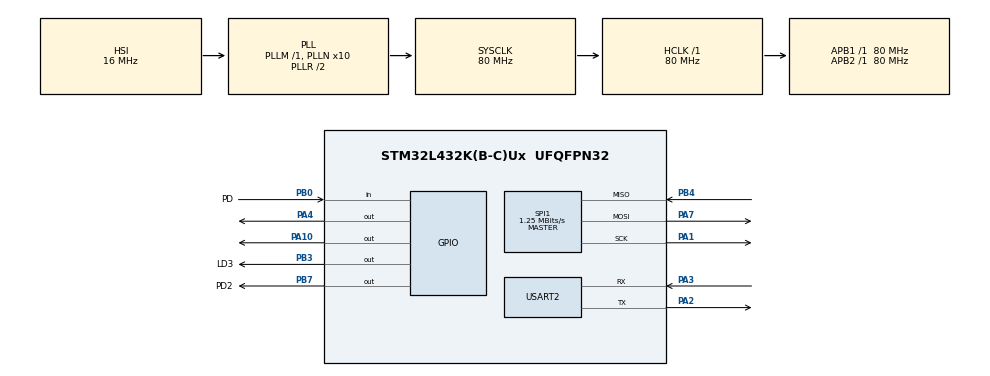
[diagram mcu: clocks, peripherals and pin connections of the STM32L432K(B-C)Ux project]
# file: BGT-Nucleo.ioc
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Mcu.Family=STM32L4
Mcu.Name=STM32L432K(B-C)Ux
Mcu.Package=UFQFPN32
NVIC.PriorityGroup=NVIC_PRIORITYGROUP_4
NVIC.TIM2_IRQn=true\:0\:0\:false\:false\:true\:true\:true\:true
PA1.Mode=Full_Duplex_Master
PA1.Signal=SPI1_SCK
PA10.Signal=GPIO_Output
PA2.Mode=Asynchronous
PA2.Signal=USART2_TX
PA3.Mode=Asynchronous
PA3.Signal=USART2_RX
PA4.GPIO_Speed=GPIO_SPEED_FREQ_LOW
PA4.Signal=GPIO_Output
PA7.Mode=Full_Duplex_Master
PA7.Signal=SPI1_MOSI
PB0.GPIO_Label=PD
PB0.Signal=GPIO_Input
PB3\ (JTDO-TRACESWO).GPIO_Label=LD3
PB3\ (JTDO-TRACESWO).Signal=GPIO_Output
PB4\ (NJTRST).Mode=Full_Duplex_Master
PB4\ (NJTRST).Signal=SPI1_MISO
PB7.GPIO_Label=PD2
PB7.Signal=GPIO_Output
ProjectManager.HeapSize=0x200
ProjectManager.StackSize=0x400
ProjectManager.TargetToolchain=STM32CubeIDE
RCC.ADCFreq_Value=64000000
RCC.AHBFreq_Value=80000000
RCC.APB1Freq_Value=80000000
RCC.APB1TimFreq_Value=80000000
RCC.APB2Freq_Value=80000000
RCC.APB2TimFreq_Value=80000000
RCC.CortexFreq_Value=80000000
RCC.HCLKFreq_Value=80000000
RCC.HSE_VALUE=8000000
RCC.HSI48_VALUE=48000000
RCC.HSI_VALUE=16000000
RCC.LSE_VALUE=32768
RCC.MSI_VALUE=4000000
RCC.PLLN=10
RCC.PLLSourceVirtual=RCC_PLLSOURCE_HSI
RCC.SYSCLKFreq_VALUE=80000000
RCC.SYSCLKSource=RCC_SYSCLKSOURCE_PLLCLK
RCC.USBFreq_Value=64000000
RCC.VCOOutputFreq_Value=160000000
SPI1.BaudRatePrescaler=SPI_BAUDRATEPRESCALER_64
SPI1.CalculateBaudRate=1.25 MBits/s
SPI1.DataSize=SPI_DATASIZE_8BIT
SPI1.Direction=SPI_DIRECTION_2LINES
SPI1.Mode=SPI_MODE_MASTER
SPI1.NSSPMode=SPI_NSS_PULSE_DISABLE
SPI1.VirtualType=VM_MASTER
TIM2.Period=999
TIM2.Prescaler=79
USART2.VirtualMode-Asynchronous=VM_ASYNC
VP_TIM2_VS_ClockSourceINT.Mode=Internal
board=custom

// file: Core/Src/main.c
/* USER CODE BEGIN Header */
/**
  ******************************************************************************
  * @file           : main.c
  * @brief          : Main program body
  ******************************************************************************
  * @attention
  *
  * Copyright (c) 2025 STMicroelectronics.
  * All rights reserved.
  *
  * This software is licensed under terms that can be found in the LICENSE file
  * in the root directory of this software component.
  * If no LICENSE file comes with this software, it is provided AS-IS.
  *
  ******************************************************************************
  */
/* USER CODE END Header */
#include "main.h"

/* USER CODE BEGIN Includes */
#include "fft.h"
#include "bgt60ltr11_spi.h"
#include <stdio.h>
#include <stdint.h>
#include <string.h>
#include <math.h>
/* USER CODE END Includes */

SPI_HandleTypeDef hspi1;

TIM_HandleTypeDef htim2;

UART_HandleTypeDef huart2;

/* USER CODE BEGIN PV */

// Radar 1 data structures
uint16_t IFI_radar1 = 0;
uint16_t IFQ_radar1 = 0;
float32_t buffer1_radar1[2 * FFT_BUFFER_SIZE];
float32_t buffer2_radar1[2 * FFT_BUFFER_SIZE];
float32_t *active_buffer_radar1 = buffer1_radar1;
float32_t *processing_buffer_radar1 = buffer2_radar1;
uint16_t acquired_sample_count_radar1 = 0;
uint8_t data_ready_f_radar1 = 0;
float32_t peak_index_radar1 = 0.0f;
float32_t max_value_radar1 = 0.0f;
float32_t target_velocity_radar1 = 0.0f;

// Radar 2 data structures
uint16_t IFI_radar2 = 0;
uint16_t IFQ_radar2 = 0;
float32_t buffer1_radar2[2 * FFT_BUFFER_SIZE];
float32_t buffer2_radar2[2 * FFT_BUFFER_SIZE];
float32_t *active_buffer_radar2 = buffer1_radar2;
float32_t *processing_buffer_radar2 = buffer2_radar2;
uint16_t acquired_sample_count_radar2 = 0;
uint8_t data_ready_f_radar2 = 0;
float32_t peak_index_radar2 = 0.0f;
float32_t max_value_radar2 = 0.0f;
float32_t target_velocity_radar2 = 0.0f;

// Shared variables
uint8_t radar1_initialized = 0;
uint8_t radar2_initialized = 0;
uint32_t error_cnt = 0;

#define VELOCITY_BUFFER_SIZE 3
float32_t velocity_buffer_radar1[VELOCITY_BUFFER_SIZE];
uint8_t velocity_buffer_index_radar1 = 0;
uint8_t velocity_buffer_filled_radar1 = 0;
float32_t velocity_average_radar1 = 0.0f;

float32_t velocity_buffer_radar2[VELOCITY_BUFFER_SIZE];
uint8_t velocity_buffer_index_radar2 = 0;
uint8_t velocity_buffer_filled_radar2 = 0;
float32_t velocity_average_radar2 = 0.0f;

uint32_t pa10_toggle_timestamp = 0;
const uint32_t PA10_TOGGLE_INTERVAL = 5000; // 5 seconds in milliseconds
GPIO_PinState pa10_current_state = GPIO_PIN_RESET;
/* USER CODE END PV */

void SystemClock_Config(void);
static void MX_GPIO_Init(void);
static void MX_SPI1_Init(void);
static void MX_TIM2_Init(void);
static void MX_USART2_UART_Init(void);
/* USER CODE BEGIN PFP */
float32_t calculate_rolling_average_with_filtering1(float32_t new_value);
float32_t calculate_rolling_average_with_filtering2(float32_t new_value);
/* USER CODE END PFP */

/* USER CODE BEGIN 0 */
#ifdef __GNUC__
#define PUTCHAR_PROTOTYPE int __io_putchar(int ch)
#else
#define PUTCHAR_PROTOTYPE int fputc(int ch, FILE *f)
#endif

PUTCHAR_PROTOTYPE
{
  HAL_UART_Transmit(&huart2, (uint8_t *)&ch, 1, HAL_MAX_DELAY);
  return ch;
}

/* USER CODE END 0 */

int main(void)
{

  /* MCU Configuration--------------------------------------------------------*/

  /* Reset of all peripherals, Initializes the Flash interface and the Systick. */
  HAL_Init();

  /* Configure the system clock */
  SystemClock_Config();

  /* Initialize all configured peripherals */
  MX_GPIO_Init();
  MX_SPI1_Init();
  MX_TIM2_Init();
  MX_USART2_UART_Init();
  /* USER CODE BEGIN 2 */
  //Test

  // Initialize CS pins
  HAL_GPIO_WritePin(GPIOA, GPIO_PIN_4, GPIO_PIN_SET);   // Radar 1 CS high
  HAL_GPIO_WritePin(GPIOA, GPIO_PIN_10, GPIO_PIN_SET);  // Radar 2 CS high

  // Initialize Radar 1
  bgt60ltr11_HW_reset(RADAR_1);
  HAL_Delay(100);  // Wait for radar to stabilize
  if (bgt60ltr11_pulsed_mode_init_extended_range(RADAR_1) != HAL_OK) {
      Error_Handler();
  }

  // Initialize Radar 2
  bgt60ltr11_HW_reset(RADAR_2);
  HAL_Delay(100);  // Wait for radar to stabilize
  if (bgt60ltr11_pulsed_mode_init_extended_range(RADAR_2) != HAL_OK) {
      Error_Handler();
  }

  HAL_Delay(1000);
  HAL_TIM_Base_Start_IT(&htim2);

  // Radars successfully initialized
  radar1_initialized = 1;
  radar2_initialized = 1;

  for (uint8_t i = 0; i < VELOCITY_BUFFER_SIZE; i++) {
	  velocity_buffer_radar1[i] = 0.0f;
	  velocity_buffer_radar2[i] = 0.0f;
  }

  /* USER CODE END 2 */

  /* Infinite loop */
  /* USER CODE BEGIN WHILE */
  // HI JASON!!!!!!
  while (1)
  {
	  //printf("PD Pin state: %s\r\n", HAL_GPIO_ReadPin(PD_GPIO_Port, PD_Pin) == GPIO_PIN_SET ? "HIGH" : "LOW");

	  // Process Radar 1 data when ready
	  //printf("radar_init=%u, data_ready=%u\r\n", radar1_initialized, data_ready_f_radar1);
	  if (radar1_initialized && data_ready_f_radar1) {
		  fft256_spectrum(processing_buffer_radar1);
		  find_peak_frequency(processing_buffer_radar1, FFT_BUFFER_SIZE, 1000, &peak_index_radar1, &max_value_radar1, &target_velocity_radar1);
		  printf("Radar 1 - velocity: %.5f m/s\t", target_velocity_radar1);
		  //printf("Radar 1 - velocity: %.5f m/s \r\n", target_velocity_radar1);
//		  if ((HAL_GPIO_ReadPin(PD_GPIO_Port, PD_Pin) == GPIO_PIN_SET && target_velocity_radar1 > 0) ||
//		      (HAL_GPIO_ReadPin(PD_GPIO_Port, PD_Pin) == GPIO_PIN_RESET && target_velocity_radar1 < 0)) {
//
//		    //velocity_average_radar1 = calculate_rolling_average_with_filtering1(target_velocity_radar1);
//		    printf("Radar 1 - velocity: %.5f m/s \r\n", target_velocity_radar1);
//
//		  }
		  HAL_GPIO_TogglePin(GPIOB, GPIO_PIN_3);
		  data_ready_f_radar1 = 0;
	  } else {
		  printf("%-35s", "");
	  }

	  // Process Radar 2 data when ready
	  if (radar2_initialized && data_ready_f_radar2) {
		  fft256_spectrum(processing_buffer_radar2);
		  find_peak_frequency(processing_buffer_radar2, FFT_BUFFER_SIZE, 1000, &peak_index_radar2, &max_value_radar2, &target_velocity_radar2);
		  printf("Radar 2 - velocity: %.5f m/s", target_velocity_radar2);
//		  if ((HAL_GPIO_ReadPin(PD2_GPIO_Port, PD2_Pin) == GPIO_PIN_SET && target_velocity_radar2 > 0) ||
//			  (HAL_GPIO_ReadPin(PD2_GPIO_Port, PD2_Pin) == GPIO_PIN_RESET && target_velocity_radar2 < 0)) {
//
//			//velocity_average_radar2 = calculate_rolling_average_with_filtering2(target_velocity_radar2);
//			//printf("Radar 2 - velocity: %.5f m/s \r\n", target_velocity_radar2);
//			printf("\n");
//
//		  }
		  HAL_GPIO_TogglePin(GPIOB, GPIO_PIN_3);
		  data_ready_f_radar2 = 0;
	  } else {
		  printf("\r\n");
	  }

//	  printf("-\r\n");
//	  if (HAL_GPIO_ReadPin(TD_GPIO_Port, TD_Pin) == GPIO_PIN_RESET) {
//		  // TD = 0
//		  if (HAL_GPIO_ReadPin(PD_GPIO_Port, PD_Pin) == GPIO_PIN_SET) {
//			  // PD = 1
//			  printf("APPROACHING!!!!!\r\n");
//		  } else {
//			  // PD = 0
//			  printf("DEPARTING!!!!!\r\n");
//		  }
//	  }

	  // Check if it's time to toggle PA10
//	  uint32_t current_time = HAL_GetTick();
//	  if(current_time - pa10_toggle_timestamp >= PA10_TOGGLE_INTERVAL) {
//		  // Toggle the state by writing the opposite of current state
//		  pa10_current_state = (pa10_current_state == GPIO_PIN_RESET) ? GPIO_PIN_SET : GPIO_PIN_RESET;
//		  HAL_GPIO_WritePin(GPIOA, GPIO_PIN_10, pa10_current_state);
//		  pa10_toggle_timestamp = current_time;
//		  printf("PA10 set to %s\r\n", (pa10_current_state == GPIO_PIN_SET) ? "HIGH" : "LOW"); // improved debug message
//	  }

	  HAL_Delay(100);

    /* USER CODE END WHILE */

  }
}

void SystemClock_Config(void)
{
  RCC_OscInitTypeDef RCC_OscInitStruct = {0};
  RCC_ClkInitTypeDef RCC_ClkInitStruct = {0};

  /** Configure the main internal regulator output voltage
  */
  if (HAL_PWREx_ControlVoltageScaling(PWR_REGULATOR_VOLTAGE_SCALE1) != HAL_OK)
  {
    Error_Handler();
  }

  /** Initializes the RCC Oscillators according to the specified parameters
  * in the RCC_OscInitTypeDef structure.
  */
  RCC_OscInitStruct.OscillatorType = RCC_OSCILLATORTYPE_HSI;
  RCC_OscInitStruct.HSIState = RCC_HSI_ON;
  RCC_OscInitStruct.HSICalibrationValue = RCC_HSICALIBRATION_DEFAULT;
  RCC_OscInitStruct.PLL.PLLState = RCC_PLL_ON;
  RCC_OscInitStruct.PLL.PLLSource = RCC_PLLSOURCE_HSI;
  RCC_OscInitStruct.PLL.PLLM = 1;
  RCC_OscInitStruct.PLL.PLLN = 10;
  RCC_OscInitStruct.PLL.PLLP = RCC_PLLP_DIV7;
  RCC_OscInitStruct.PLL.PLLQ = RCC_PLLQ_DIV2;
  RCC_OscInitStruct.PLL.PLLR = RCC_PLLR_DIV2;
  if (HAL_RCC_OscConfig(&RCC_OscInitStruct) != HAL_OK)
  {
    Error_Handler();
  }

  /** Initializes the CPU, AHB and APB buses clocks
  */
  RCC_ClkInitStruct.ClockType = RCC_CLOCKTYPE_HCLK|RCC_CLOCKTYPE_SYSCLK
                              |RCC_CLOCKTYPE_PCLK1|RCC_CLOCKTYPE_PCLK2;
  RCC_ClkInitStruct.SYSCLKSource = RCC_SYSCLKSOURCE_PLLCLK;
  RCC_ClkInitStruct.AHBCLKDivider = RCC_SYSCLK_DIV1;
  RCC_ClkInitStruct.APB1CLKDivider = RCC_HCLK_DIV1;
  RCC_ClkInitStruct.APB2CLKDivider = RCC_HCLK_DIV1;

  if (HAL_RCC_ClockConfig(&RCC_ClkInitStruct, FLASH_LATENCY_4) != HAL_OK)
  {
    Error_Handler();
  }
}

static void MX_SPI1_Init(void)
{

  /* SPI1 parameter configuration*/
  hspi1.Instance = SPI1;
  hspi1.Init.Mode = SPI_MODE_MASTER;
  hspi1.Init.Direction = SPI_DIRECTION_2LINES;
  hspi1.Init.DataSize = SPI_DATASIZE_8BIT;
  hspi1.Init.CLKPolarity = SPI_POLARITY_LOW;
  hspi1.Init.CLKPhase = SPI_PHASE_1EDGE;
  hspi1.Init.NSS = SPI_NSS_SOFT;
  hspi1.Init.BaudRatePrescaler = SPI_BAUDRATEPRESCALER_64;
  hspi1.Init.FirstBit = SPI_FIRSTBIT_MSB;
  hspi1.Init.TIMode = SPI_TIMODE_DISABLE;
  hspi1.Init.CRCCalculation = SPI_CRCCALCULATION_DISABLE;
  hspi1.Init.CRCPolynomial = 7;
  hspi1.Init.CRCLength = SPI_CRC_LENGTH_DATASIZE;
  hspi1.Init.NSSPMode = SPI_NSS_PULSE_DISABLE;
  if (HAL_SPI_Init(&hspi1) != HAL_OK)
  {
    Error_Handler();
  }

}

static void MX_TIM2_Init(void)
{

  TIM_ClockConfigTypeDef sClockSourceConfig = {0};
  TIM_MasterConfigTypeDef sMasterConfig = {0};

  htim2.Instance = TIM2;
  htim2.Init.Prescaler = 79;
  htim2.Init.CounterMode = TIM_COUNTERMODE_UP;
  htim2.Init.Period = 999;
  htim2.Init.ClockDivision = TIM_CLOCKDIVISION_DIV1;
  htim2.Init.AutoReloadPreload = TIM_AUTORELOAD_PRELOAD_DISABLE;
  if (HAL_TIM_Base_Init(&htim2) != HAL_OK)
  {
    Error_Handler();
  }
  sClockSourceConfig.ClockSource = TIM_CLOCKSOURCE_INTERNAL;
  if (HAL_TIM_ConfigClockSource(&htim2, &sClockSourceConfig) != HAL_OK)
  {
    Error_Handler();
  }
  sMasterConfig.MasterOutputTrigger = TIM_TRGO_RESET;
  sMasterConfig.MasterSlaveMode = TIM_MASTERSLAVEMODE_DISABLE;
  if (HAL_TIMEx_MasterConfigSynchronization(&htim2, &sMasterConfig) != HAL_OK)
  {
    Error_Handler();
  }

}

static void MX_USART2_UART_Init(void)
{

  huart2.Instance = USART2;
  huart2.Init.BaudRate = 115200;
  huart2.Init.WordLength = UART_WORDLENGTH_8B;
  huart2.Init.StopBits = UART_STOPBITS_1;
  huart2.Init.Parity = UART_PARITY_NONE;
  huart2.Init.Mode = UART_MODE_TX_RX;
  huart2.Init.HwFlowCtl = UART_HWCONTROL_NONE;
  huart2.Init.OverSampling = UART_OVERSAMPLING_16;
  huart2.Init.OneBitSampling = UART_ONE_BIT_SAMPLE_DISABLE;
  huart2.AdvancedInit.AdvFeatureInit = UART_ADVFEATURE_NO_INIT;
  if (HAL_UART_Init(&huart2) != HAL_OK)
  {
    Error_Handler();
  }

}

static void MX_GPIO_Init(void)
{
  GPIO_InitTypeDef GPIO_InitStruct = {0};

  /* GPIO Ports Clock Enable */
  __HAL_RCC_GPIOA_CLK_ENABLE();
  __HAL_RCC_GPIOB_CLK_ENABLE();

  /*Configure GPIO pin Output Level */
  HAL_GPIO_WritePin(GPIOA, GPIO_PIN_4|GPIO_PIN_10, GPIO_PIN_RESET);

  /*Configure GPIO pin Output Level */
  HAL_GPIO_WritePin(GPIOB, LD3_Pin|PD2_Pin, GPIO_PIN_RESET);

  /*Configure GPIO pins : PA4 PA10 */
  GPIO_InitStruct.Pin = GPIO_PIN_4|GPIO_PIN_10;
  GPIO_InitStruct.Mode = GPIO_MODE_OUTPUT_PP;
  GPIO_InitStruct.Pull = GPIO_NOPULL;
  GPIO_InitStruct.Speed = GPIO_SPEED_FREQ_LOW;
  HAL_GPIO_Init(GPIOA, &GPIO_InitStruct);

  /*Configure GPIO pin : PD_Pin */
  GPIO_InitStruct.Pin = PD_Pin;
  GPIO_InitStruct.Mode = GPIO_MODE_INPUT;
  GPIO_InitStruct.Pull = GPIO_NOPULL;
  HAL_GPIO_Init(PD_GPIO_Port, &GPIO_InitStruct);

  /*Configure GPIO pins : LD3_Pin PD2_Pin */
  GPIO_InitStruct.Pin = LD3_Pin|PD2_Pin;
  GPIO_InitStruct.Mode = GPIO_MODE_OUTPUT_PP;
  GPIO_InitStruct.Pull = GPIO_NOPULL;
  GPIO_InitStruct.Speed = GPIO_SPEED_FREQ_LOW;
  HAL_GPIO_Init(GPIOB, &GPIO_InitStruct);

}

/* USER CODE BEGIN 4 */

void HAL_TIM_PeriodElapsedCallback(TIM_HandleTypeDef *htim) {
    if (htim == &htim2) {
        // Alternate between radars (you could also use a counter to give equal time)
        static uint8_t current_radar = RADAR_1;

        if (current_radar == RADAR_1) {
            // Process Radar 1
            if (acquired_sample_count_radar1 < FFT_BUFFER_SIZE) {
                if (bgt60ltr11_get_RAW_data(RADAR_1, &IFI_radar1, &IFQ_radar1) == HAL_OK) {
                    if (IFI_radar1 <= 0x3FC && IFQ_radar1 <= 0x3FC) {
                        active_buffer_radar1[2 * acquired_sample_count_radar1] =  (float32_t)(IFI_radar1 >> 2) / 255.0f;
                        active_buffer_radar1[2 * acquired_sample_count_radar1 + 1] = (float32_t)(IFQ_radar1 >> 2) / 255.0f;
                        acquired_sample_count_radar1++;
                    }
                } else {
                    error_cnt++;
                }
            } else {
                // Buffer full, swap buffers
                float32_t *temp = active_buffer_radar1;
                active_buffer_radar1 = processing_buffer_radar1;
                processing_buffer_radar1 = temp;
                data_ready_f_radar1 = 1;
                acquired_sample_count_radar1 = 0;
            }
        } else {
            // Process Radar 2
            if (acquired_sample_count_radar2 < FFT_BUFFER_SIZE) {
                if (bgt60ltr11_get_RAW_data(RADAR_2, &IFI_radar2, &IFQ_radar2) == HAL_OK) {
                    if (IFI_radar2 <= 0x3FC && IFQ_radar2 <= 0x3FC) {
                        active_buffer_radar2[2 * acquired_sample_count_radar2] = (float32_t)(IFI_radar2 >> 2) / 255.0f;
                        active_buffer_radar2[2 * acquired_sample_count_radar2 + 1] = (float32_t)(IFQ_radar2 >> 2) / 255.0f;
                        acquired_sample_count_radar2++;
                    }
                } else {
                    error_cnt++;
                }
            } else {
                // Buffer full, swap buffers
                float32_t *temp = active_buffer_radar2;
                active_buffer_radar2 = processing_buffer_radar2;
                processing_buffer_radar2 = temp;
                data_ready_f_radar2 = 1;
                acquired_sample_count_radar2 = 0;
            }
        }

        // Toggle between radars
        current_radar = (current_radar == RADAR_1) ? RADAR_2 : RADAR_1;
    }
}

void sendDataToMonitor(float32_t vel) {
	printf("DATA,%.5f\n", vel);
}

float32_t calculate_rolling_average_with_filtering1(float32_t new_value) {
    // Set threshold for outlier detection (adjust based on your expected velocity range)
    float32_t max_deviation = 20.0f; // Maximum allowed deviation from current average

    // If we have a previous average and the new value deviates too much, reject it
    if (velocity_buffer_filled_radar1 && fabsf(new_value - velocity_average_radar1) > max_deviation) {
        // Outlier detected, don't add to buffer
        //printf("Outlier rejected: %.5f (current avg: %.5f)\r\n", new_value, velocity_average_radar1);
        return velocity_average_radar1; // Return previous average
    }

    // Regular rolling average calculation
    velocity_buffer_radar1[velocity_buffer_index_radar1] = new_value;
    velocity_buffer_index_radar1 = (velocity_buffer_index_radar1 + 1) % VELOCITY_BUFFER_SIZE;

    if (velocity_buffer_index_radar1 == 0 && velocity_buffer_filled_radar1 == 0) {
        velocity_buffer_filled_radar1 = 1;
    }

    float32_t sum = 0.0f;
    uint8_t count = velocity_buffer_filled_radar1 ? VELOCITY_BUFFER_SIZE : velocity_buffer_index_radar1;

    if (count == 0) {
        return new_value;
    }

    for (uint8_t i = 0; i < count; i++) {
        sum += velocity_buffer_radar1[i];
    }

    return sum / count;
}

float32_t calculate_rolling_average_with_filtering2(float32_t new_value) {
    // Set threshold for outlier detection (adjust based on your expected velocity range)
    float32_t max_deviation = 20.0f; // Maximum allowed deviation from current average

    // If we have a previous average and the new value deviates too much, reject it
    if (velocity_buffer_filled_radar2 && fabsf(new_value - velocity_average_radar2) > max_deviation) {
        // Outlier detected, don't add to buffer
        //printf("Outlier rejected: %.5f (current avg: %.5f)\r\n", new_value, velocity_average_radar2);
        return velocity_average_radar2; // Return previous average
    }

    // Regular rolling average calculation
    velocity_buffer_radar2[velocity_buffer_index_radar2] = new_value;
    velocity_buffer_index_radar2 = (velocity_buffer_index_radar2 + 1) % VELOCITY_BUFFER_SIZE;

    if (velocity_buffer_index_radar2 == 0 && velocity_buffer_filled_radar2 == 0) {
        velocity_buffer_filled_radar2 = 1;
    }

    float32_t sum = 0.0f;
    uint8_t count = velocity_buffer_filled_radar2 ? VELOCITY_BUFFER_SIZE : velocity_buffer_index_radar2;

    if (count == 0) {
        return new_value;
    }

    for (uint8_t i = 0; i < count; i++) {
        sum += velocity_buffer_radar2[i];
    }

    return sum / count;
}
/* USER CODE END 4 */

void Error_Handler(void)
{
  /* USER CODE BEGIN Error_Handler_Debug */
  /* User can add his own implementation to report the HAL error return state */
  __disable_irq();
  while (1)
  {
	  HAL_GPIO_TogglePin(GPIOB, GPIO_PIN_3);
	  HAL_Delay(50);
	  HAL_GPIO_TogglePin(GPIOB, GPIO_PIN_3);
	  HAL_Delay(50);
	  HAL_GPIO_TogglePin(GPIOB, GPIO_PIN_3);
	  HAL_Delay(50);
	  HAL_GPIO_TogglePin(GPIOB, GPIO_PIN_3);
	  HAL_Delay(500);  // Longer pause between double-blinks
  }
  /* USER CODE END Error_Handler_Debug */
}
